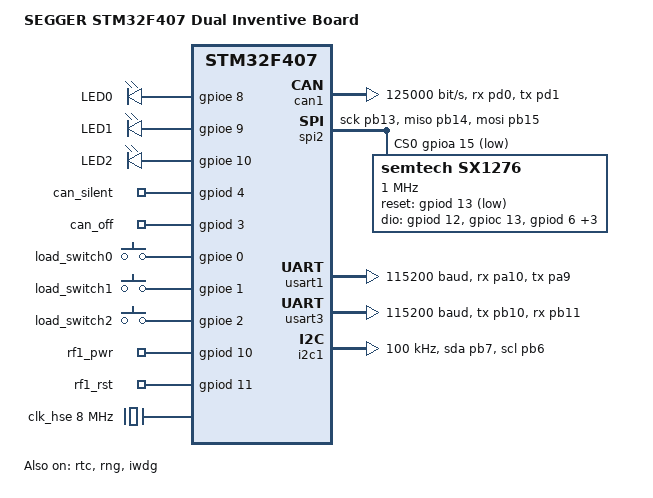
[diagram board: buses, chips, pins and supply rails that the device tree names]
/dts-v1/;
#include <st/f4/stm32f407Xg.dtsi>
#include <st/f4/stm32f407v(e-g)tx-pinctrl.dtsi>

/ {
	model = "SEGGER STM32F407 Dual Inventive Board";
	compatible = "vention,dual_inventive_stm32f407";

	chosen {
		zephyr,console = &usart3;
		zephyr,sram = &sram0;
		zephyr,flash = &flash0;
		zephyr,ccm = &ccm0;
		zephyr,canbus = &can1;
		zephyr,spi = &spi2;
	};

	aliases {
		led0 = &led_0_red;
		led1 = &led_1_green;
		led2 = &led_2_blue;
		cansilent = &can_silent;
		canoff = &can_off;
		loadswitch0 = &load_switch0;
		loadswitch1 = &load_switch1;
		loadswitch2 = &load_switch2;
		rf1pwr = &rf1_pwr;
		rf1rst = &rf1_rst;
		watchdog0 = &iwdg;
		uart1 = &usart1;
		uart3 = &usart3;
		i2c1 = &i2c1;
		lora0 = &lora;
	};

	leds {
		compatible = "gpio-leds";
		led_0_red: led_0_red {
			gpios = <&gpioe 8 GPIO_ACTIVE_HIGH>;
			label = "LED0";
		};
		led_1_green: led_1_green {
			gpios = <&gpioe 9 GPIO_ACTIVE_HIGH>;
			label = "LED1";
		};
		led_2_blue: led_2_blue {
			gpios = <&gpioe 10 GPIO_ACTIVE_HIGH>;
			label = "LED2";
		};
	};

	gpios {
		compatible = "gpio-keys";
		can_silent: can_silent {
			gpios = <&gpiod 4 GPIO_ACTIVE_HIGH>;
		};
		can_off: can_off {
			gpios = <&gpiod 3 GPIO_ACTIVE_HIGH>;
		};
		load_switch0: load_switch0 {
			gpios = <&gpioe 0 GPIO_ACTIVE_HIGH>;
		};
		load_switch1: load_switch1 {
			gpios = <&gpioe 1 GPIO_ACTIVE_HIGH>;
		};
		load_switch2: load_switch2 {
			gpios = <&gpioe 2 GPIO_ACTIVE_HIGH>;
		};
		rf1_pwr: rf1_pwr {
			gpios = <&gpiod 10 GPIO_ACTIVE_HIGH>;
		};
		rf1_rst: rf1_rst {
			gpios = <&gpiod 11 GPIO_ACTIVE_HIGH>;
		};
	};
};

&clk_hse {
	clock-frequency = <DT_FREQ_M(8)>;
	status = "okay";
};

&pll {
	div-m = <8>;
	mul-n = <336>;
	div-p = <2>;
	div-q = <7>;
	clocks = <&clk_hse>;
	status = "okay";
};

&rcc {
	clocks = <&pll>;
	clock-frequency = <DT_FREQ_M(168)>;
	ahb-prescaler = <1>;
	apb1-prescaler = <4>;
	apb2-prescaler = <2>;
};

&rtc {
	status = "okay";
};

&rng {
	status = "okay";
};

&iwdg {
	status = "okay";
};

&can1 {
	status = "okay";
	pinctrl-names = "default";
	pinctrl-0 = <&can1_rx_pd0 &can1_tx_pd1>;
	bus-speed = <125000>;
};

&spi2 {
	status = "okay";
	pinctrl-0 = <&spi2_sck_pb13 &spi2_miso_pb14 &spi2_mosi_pb15>;
	pinctrl-names = "default";
	cs-gpios = <&gpioa 15 GPIO_ACTIVE_LOW>;
	lora: lora@0 {
		compatible = "semtech,sx1276";
		status = "okay";
		reg = <0>;
		spi-max-frequency = <1000000>;
		label = "sx1276";
		reset-gpios = <&gpiod 13 (GPIO_ACTIVE_LOW)>;
		dio-gpios = <&gpiod 12 (GPIO_PULL_DOWN | GPIO_ACTIVE_HIGH)>,
					<&gpioc 13 (GPIO_PULL_DOWN | GPIO_ACTIVE_HIGH)>,
					<&gpiod 6 (GPIO_PULL_DOWN | GPIO_ACTIVE_HIGH)>,
					<&gpiod 5 (GPIO_PULL_DOWN | GPIO_ACTIVE_HIGH)>,
					<&gpioa 12 (GPIO_PULL_DOWN | GPIO_ACTIVE_HIGH)>,
					<&gpioa 11 (GPIO_PULL_DOWN | GPIO_ACTIVE_HIGH)>;
		power-amplifier-output = "pa-boost";
		tcxo-power-startup-delay-ms = <5>;
	};
};

&dma1 {
	status = "okay";
};

&usart1 {
	status = "okay";
	current-speed = <115200>;
	pinctrl-0 = <&usart1_rx_pa10 &usart1_tx_pa9 >;
	pinctrl-names = "default";
};

&usart3 {
	status = "okay";
	current-speed = <115200>;
	pinctrl-0 = <&usart3_tx_pb10 &usart3_rx_pb11>;
	pinctrl-names = "default";
};

&i2c1 {	
	status = "okay";
	pinctrl-0 = <&i2c1_sda_pb7 &i2c1_scl_pb6>;
	pinctrl-names = "default";
	clock-frequency = < I2C_BITRATE_STANDARD >;
};
&backup_sram{
	status = "okay";
};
